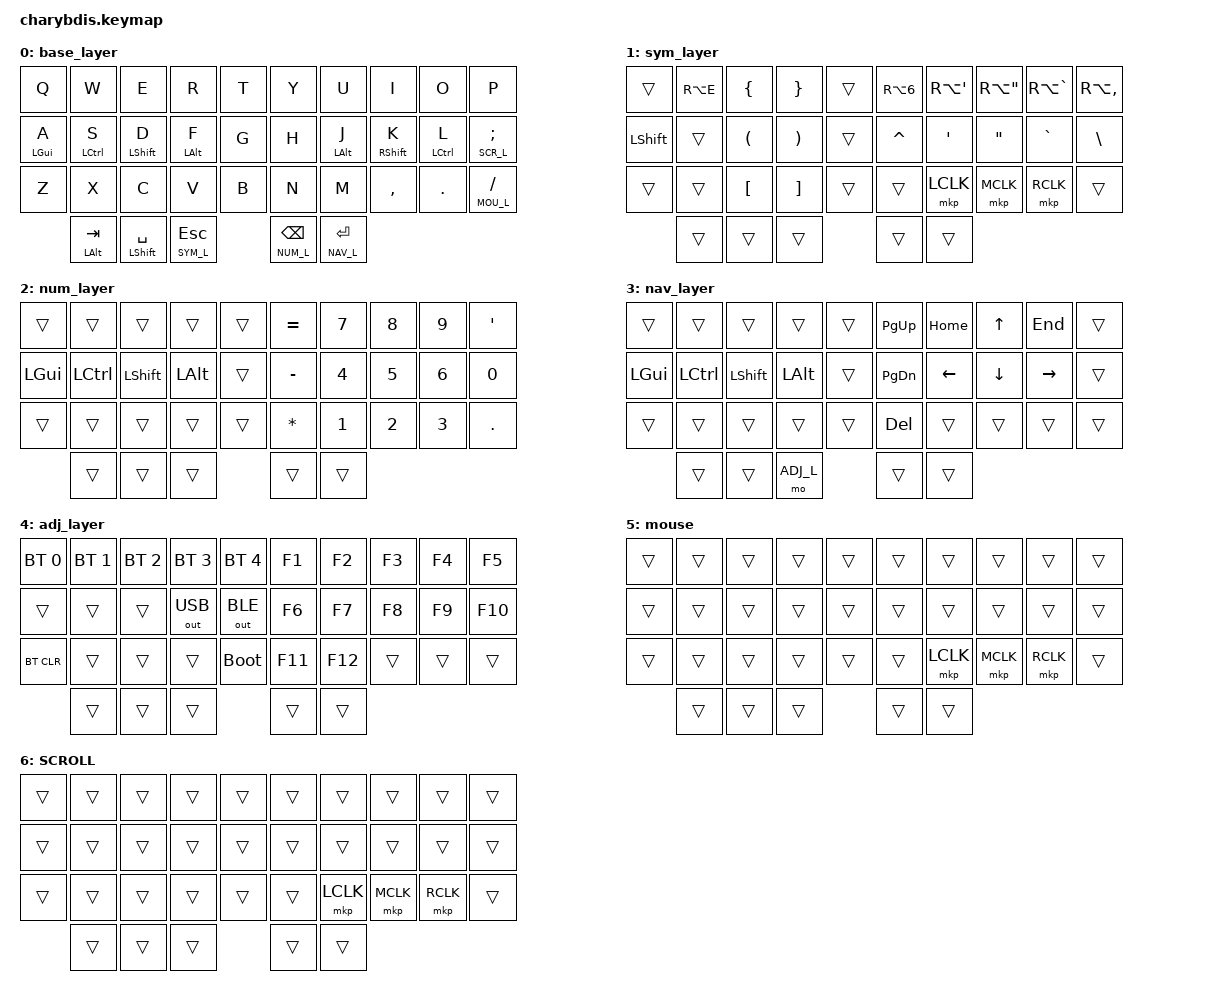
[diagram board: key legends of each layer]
#include <behaviors.dtsi>
#include <dt-bindings/zmk/bt.h>
#include <dt-bindings/zmk/keys.h>
#include <dt-bindings/zmk/pointing.h>
#include <dt-bindings/zmk/outputs.h>

#define U_TAPPING_TERM 200
#define BASE_L  0
#define SYM_L   1
#define NUM_L   2
#define NAV_L   3
#define ADJ_L   4
#define MOU_L   5
#define SCR_L   6

/ {
    chosen { zmk,matrix_transform = &five_column_transform; };

/* Use this instead for 3x6 form factor:
    chosen { zmk,matrix_transform = &default_transform; }; */

};


/*                KEY POSITIONS for combos

  ╭────────────────────╮ ╭────────────────────╮
  │  0   1   2   3   4 │ │  5   6   7   8   9 │
  │ 10  11  12  13  14 │ │ 15  16  17  18  19 │
  │ 20  21  22  23  24 │ │ 25  26  27  28  29 │
  ╰───────╮ 30  31  32 │ │ 33  34 ╭───────────╯
          ╰────────────╯ ╰────────╯                */
/ {
    combos {
        compatible = "zmk,combos";

        LeftClickRight {
            bindings = <&mkp LCLK>;
            key-positions = <26 27>;
        };

        RightClickRight {
            bindings = <&mkp RCLK>;
            key-positions = <28 29>;
        };

        MiddleClickRight {
            bindings = <&mkp MCLK>;
            key-positions = <27 28>;
        };

        ResetLeft {
            bindings = <&sys_reset>;
            key-positions = <0 1 2>;
        };
        ResetRight {
            bindings = <&sys_reset>;
            key-positions = <7 8 9>;
        };

    };

    behaviors {
        lhm: left_hand_positional_hold_tap {
            compatible = "zmk,behavior-hold-tap";
            #binding-cells = <2>;
            flavor = "tap-preferred";
            tapping-term-ms = <200>;
            quick-tap-ms = <200>;
            bindings = <&kp>, <&kp>;
            // hold-trigger-key-positions = <5 6 7 8 9 15 16 17 18 19 25 26 27 28 29 30 31 32 33 34 35>;
            // hold-trigger-key-positions = <5 6 7 8 9 10 11 12 13 15 16 17 18 19 25 26 27 28 29 30 31 32 33 34 35>;
        };

        rhm: right_hand_positional_hold_tap {
            compatible = "zmk,behavior-hold-tap";
            #binding-cells = <2>;
            flavor = "tap-preferred";
            tapping-term-ms = <200>;
            quick-tap-ms = <200>;
            bindings = <&kp>, <&kp>;
            // hold-trigger-key-positions = <0 1 2 3 4 10 11 12 13 14 20 21 22 23 24 30 31 32 33 34 35>;
            // hold-trigger-key-positions = <0 1 2 3 4 10 11 12 13 14 16 17 18 19 20 21 22 23 24 30 31 32 33 34 35>;
        };
        tmt: thumb_hold_tap {
            compatible = "zmk,behavior-hold-tap";
            #binding-cells = <2>;
            flavor = "hold-preferred";
            tapping-term-ms = <200>;
            quick-tap-ms = <200>;
            bindings = <&kp>, <&kp>;
        };
        base_lt: base_layer_hold_tap {
            compatible = "zmk,behavior-hold-tap";
            #binding-cells = <2>;
            flavor = "hold-preferred";
            tapping-term-ms = <200>;
            quick-tap-ms = <200>;
            bindings = <&mo>, <&kp>;
        };
    };

    keymap {
        compatible = "zmk,keymap";

/* 0  */ base_layer {
          bindings = <
                        &kp Q        &kp W         &kp E        &kp R        &kp T     /*&  &*/    &kp Y              &kp U               &kp I                 &kp O         &kp P
                        &lhm LGUI A  &lhm LCTRL S  &lhm LSHFT D &lhm LALT F  &kp G     /*&  &*/    &kp H              &rhm LALT J         &rhm RSHFT K          &rhm LCTRL L  &base_lt SCR_L SEMI
                        &kp Z        &kp X         &kp C        &kp V        &kp B     /*&  &*/    &kp N              &kp M               &kp COMMA             &kp DOT       &base_lt MOU_L FSLH
              /*&            &*/     &tmt LALT TAB  &tmt LSHFT SPC  &base_lt SYM_L ESC /*&  &*/  &base_lt NUM_L BSPC  &base_lt NAV_L RET    /*&             &*/
          >;
        };

/* 1  */ sym_layer {
          bindings = <
                      &trans       &kp RA(E)     &kp LBRC     &kp RBRC     &trans     /*&  &*/    &kp RA(N6)   &kp RA(SQT) &kp RA(DQT)  &kp RA(GRAVE) &kp RA(COMMA)
                      &kp LSHFT    &trans        &kp LPAR     &kp RPAR     &trans     /*&  &*/    &kp CARET    &kp SQT      &kp DQT      &kp GRAVE    &kp BSLH
                      &trans       &trans        &kp LBKT     &kp RBKT     &trans     /*&  &*/    &trans       &mkp LCLK    &mkp MCLK    &mkp RCLK    &trans
            /*&                    &*/           &trans       &trans       &trans     /*&  &*/    &trans       &trans              /*&           &*/
          >;
        };

/* 2  */ num_layer {
          bindings = <
                      &trans       &trans       &trans       &trans       &trans      /*&  &*/    &kp EQUAL    &kp N7       &kp N8       &kp N9       &kp SQT
                      &kp LGUI     &kp LCTRL    &kp LSHFT    &kp LALT     &trans      /*&  &*/    &kp MINUS    &kp N4       &kp N5       &kp N6       &kp N0
                      &trans       &trans       &trans       &trans       &trans      /*&  &*/    &kp ASTRK    &kp N1       &kp N2       &kp N3       &kp DOT
            /*&                   &*/           &trans       &trans       &trans      /*&  &*/    &trans       &trans              /*&             &*/
          >;
        };

/* 3  */ nav_layer {
          bindings = <
                      &trans       &trans       &trans       &trans       &trans      /*&  &*/    &kp PG_UP    &kp HOME     &kp UP       &kp END      &trans
                      &kp LGUI     &kp LCTRL    &kp LSHFT    &kp LALT     &trans      /*&  &*/    &kp PG_DN    &kp LEFT     &kp DOWN     &kp RIGHT    &trans
                      &trans       &trans       &trans       &trans       &trans      /*&  &*/    &kp DEL      &trans       &trans       &trans       &trans
            /*&                    &*/          &trans       &trans       &mo ADJ_L   /*&  &*/    &trans       &trans              /*&           &*/
          >;
        };

/* 4  */ adj_layer {
          bindings = <
                      &bt BT_SEL 0 &bt BT_SEL 1 &bt BT_SEL 2 &bt BT_SEL 3 &bt BT_SEL 4 /*&  &*/    &kp F1       &kp F2       &kp F3       &kp F4       &kp F5
                      &trans       &trans       &trans       &out OUT_USB &out OUT_BLE /*&  &*/    &kp F6       &kp F7       &kp F8       &kp F9       &kp F10
                      &bt BT_CLR   &trans       &trans       &trans       &bootloader  /*&  &*/    &kp F11      &kp F12      &trans       &trans       &trans
            /*&                    &*/          &trans       &trans       &trans       /*&  &*/    &trans       &trans              /*&            &*/
          >;
        };

/* 5  */ mouse {
            bindings = <
        &trans  &trans  &trans  &trans  &trans        /*&  &*/       &trans  &trans     &trans     &trans     &trans
        &trans  &trans  &trans  &trans  &trans        /*&  &*/       &trans  &trans     &trans     &trans     &trans
        &trans  &trans  &trans  &trans  &trans        /*&  &*/       &trans  &mkp LCLK  &mkp MCLK  &mkp RCLK  &trans
                        &trans  &trans  &trans        /*&  &*/       &trans  &trans
            >;
        };    


/* 6  */ SCROLL {
            bindings = <
        &trans  &trans  &trans  &trans  &trans        /*&  &*/       &trans  &trans     &trans     &trans     &trans
        &trans  &trans  &trans  &trans  &trans        /*&  &*/       &trans  &trans     &trans     &trans     &trans
        &trans  &trans  &trans  &trans  &trans        /*&  &*/       &trans  &mkp LCLK  &mkp MCLK  &mkp RCLK  &trans
                        &trans  &trans  &trans        /*&  &*/       &trans  &trans
            >;
        };
    };
};
